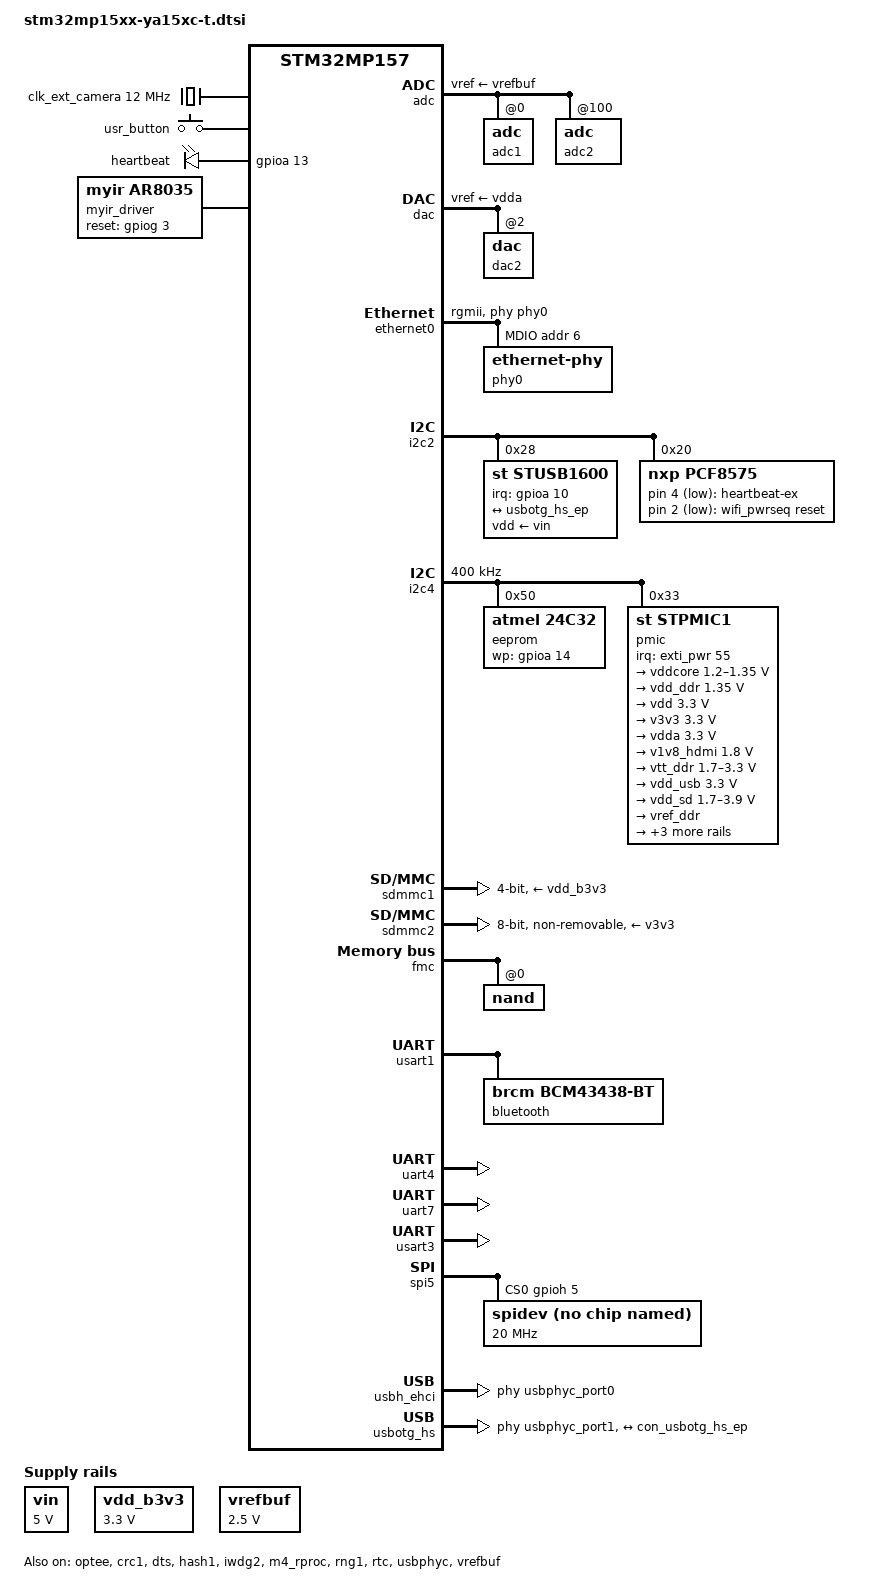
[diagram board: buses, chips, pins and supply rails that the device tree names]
// SPDX-License-Identifier: (GPL-2.0+ OR BSD-3-Clause)
/*
 * Copyright (C) STMicroelectronics 2019 - All Rights Reserved
 * Author: Alexandre Torgue <alexandre.torgue@st.com> for STMicroelectronics.
 * Author: licy licy.li@myirtech.com
 */

#include "stm32mp157-m4-srm.dtsi"
#include "stm32mp157-m4-srm-pinctrl.dtsi"
#include <dt-bindings/mfd/st,stpmic1.h>
#include <dt-bindings/input/input.h>


/ {

	reserved-memory {
		#address-cells = <1>;
		#size-cells = <1>;
		ranges;

		mcuram2: mcuram2@10000000 {
			compatible = "shared-dma-pool";
			reg = <0x10000000 0x40000>;
			no-map;
		};

		vdev0vring0: vdev0vring0@10040000 {
			compatible = "shared-dma-pool";
			reg = <0x10040000 0x1000>;
			no-map;
		};

		vdev0vring1: vdev0vring1@10041000 {
			compatible = "shared-dma-pool";
			reg = <0x10041000 0x1000>;
			no-map;
		};

		vdev0buffer: vdev0buffer@10042000 {
			compatible = "shared-dma-pool";
			reg = <0x10042000 0x4000>;
			no-map;
		};

		mcuram: mcuram@30000000 {
			compatible = "shared-dma-pool";
			reg = <0x30000000 0x40000>;
			no-map;
		};

		retram: retram@38000000 {
			compatible = "shared-dma-pool";
			reg = <0x38000000 0x10000>;
			no-map;
		};
	};

	/*camera clock*/
	
	 clocks {
                clk_ext_camera: clk-ext-camera {
                        #clock-cells = <0>;
                        compatible = "fixed-clock";
                        clock-frequency = <12000000>;
                };
        };

	
	/*button S2*/
	joystick {
	        compatible = "gpio-keys";
        	#size-cells = <0>;
        	button-0 {
               		 label = "usr_button";
               		 linux,code = <KEY_ENTER>;
                	interrupt-parent = <&gpioz>;
                	interrupts = <0 IRQ_TYPE_EDGE_RISING>;
        	};
	};

	/*Run LED*/
	led {
        	compatible = "gpio-leds";
        	blue {
                        label = "heartbeat";
                        gpios = <&gpioa 13 GPIO_ACTIVE_HIGH>;
                        linux,default-trigger = "heartbeat";
                        default-state = "off";
                };

                blue_ex {
                        label = "heartbeat-ex";
                        gpios = <&pcf8575 4 GPIO_ACTIVE_LOW>;
                        linux,default-trigger = "heartbeat";
                        default-state = "off";
                };


	};
	
	/*ether phy pwr */
	myir_driver {
                compatible = "myir,ar8035";
                reset-gpios = <&gpiog 3 GPIO_ACTIVE_HIGH>;
		status = "okay";
        };
	
	wifi_pwrseq: wifi-pwrseq {
                compatible = "mmc-pwrseq-simple";
                reset-gpios = <&pcf8575 2 GPIO_ACTIVE_LOW>;
        };
	
	bt_pwrseq {
                compatible = "myir,bt_pwr";
                bt-gpios = <&pcf8575 3 GPIO_ACTIVE_HIGH>;
		status = "disabled";
        };	
	cam_pwrseq {
		compatible = "myir,cam_pwr";
		cam-gpios = <&pcf8575 1 GPIO_ACTIVE_HIGH>;
		status = "disabled";
	};
	
	/*pwm for backlight*/
	/*
	panel_backlight: panel-backlight {
		compatible = "pwm-backlight";
		pwms = <&pwm2 0 5000000>;
		brightness-levels = <0 4 8 16 32 64 128 255>;
		default-brightness-level = <7>;
		status = "okay";
	};
	*/
	

	usb_phy_tuning: usb-phy-tuning {
		st,hs-dc-level = <2>;
		st,fs-rftime-tuning;
		st,hs-rftime-reduction;
		st,hs-current-trim = <15>;
		st,hs-impedance-trim = <1>;
		st,squelch-level = <3>;
		st,hs-rx-offset = <2>;
		st,no-lsfs-sc;
	};

	vin: vin {
                compatible = "regulator-fixed";
                regulator-name = "vin";
                regulator-min-microvolt = <5000000>;
                regulator-max-microvolt = <5000000>;
                regulator-always-on;
        };
	 vdd_b3v3: fixedregulator@2 {
                compatible = "regulator-fixed";
                regulator-name = "vdd_b3v3";
                regulator-min-microvolt = <3300000>;
                regulator-max-microvolt = <3300000>;
                startup-delay-us = <70000>;
                 enable-active-high;
        };


};

/* adc 
 *myir pin header
 *ANA0 (ADC1_INP0 or ADC2_INP0)
 *ANA1 (ADC1_INP1 or ADC2_INP1)
 *PC0(ADC1_INP10 or ADC2_INP10) 
 *PC3(ADC1_INP13 or ADC2_INN12) 
 *PF12(ADC1_INP6 or ADC1_INN2)
 */

&adc{
	pinctrl-names = "default", "sleep";
	pinctrl-0 = <&adc_pins_mx>;
	pinctrl-1 = <&adc_sleep_pins_mx>;
	vdd-supply = <&vdd>;
        vdda-supply = <&vdda>;
        vref-supply = <&vrefbuf>;
	status = "okay";

	adc1: adc@0 {
                st,min-sample-time-nsecs = <10000>;
                st,adc-channels = <0 1 6 10 13>;
                status = "okay";
        };

        adc2: adc@100 {
		st,min-sample-time-nsecs = <5000>;
                st,adc-channels = <0 1 10 12>;
                status = "okay";
        };
	

        adc_temp: temp {
                status = "okay";
        };
};

/*dac*/
&dac{
	pinctrl-names = "default", "sleep";
	pinctrl-0 = <&dac1_pins_mx>;
	pinctrl-1 = <&dac1_sleep_pins_mx>;
	status = "okay";
	vref-supply = <&vdda>;

	//PA4
        dac1: dac@1 {
                status = "disabled";
        };
	//PA5
        dac2: dac@2 {
                status = "okay";
        };
};

&optee {
	status = "okay";
};

&crc1 {
	status = "okay";
};

&dma1 {
	sram = <&dma_pool>;
};

&dma2 {
	sram = <&dma_pool>;
};

&dts {
	status = "okay";
};

/*g ethernet*/
&ethernet0 {
	status = "okay";
	pinctrl-0 = <&ethernet0_rgmii_pins_a>;
	pinctrl-1 = <&ethernet0_rgmii_pins_sleep_a>;
	pinctrl-names = "default", "sleep";
	phy-mode = "rgmii";
	max-speed = <1000>;
	phy-handle = <&phy0>;

	mdio0 {
		#address-cells = <1>;
		#size-cells = <0>;
		compatible = "snps,dwmac-mdio";
		phy0: ethernet-phy@6 {
            		reg = <6>; 
		};
	};
};

&hash1 {
	status = "okay";
};

/*no hdmi cec*/
/*
&cec {
	pinctrl-names = "default", "sleep";
	pinctrl-0 = <&cec_pins_a>;
	pinctrl-1 = <&cec_pins_sleep_a>;
	status = "disabled";
};
*/

&i2c2 {
	pinctrl-names = "default", "sleep";
        pinctrl-0 = <&i2c2_pins_mx &i2c2_pins_z_mx>;
        pinctrl-1 = <&i2c2_sleep_pins_mx &i2c2_sleep_pins_z_mx>;
        i2c-scl-rising-time-ns = <100>;
        i2c-scl-falling-time-ns = <7>;
        status = "okay";
        /delete-property/dmas;
        /delete-property/dma-names;
	//clock-frequency = <100000>;
	
        touchscreen@38 {
              compatible ="edt,edt-ft5x06";
              reg = <0x38>;

              interrupts = <12 IRQ_TYPE_EDGE_FALLING>;
              interrupt-parent = <&gpioe>;
              interrupt-controller;
              touchscreen-size-x = <800>;
              touchscreen-size-y = <480>;

              reset-gpios = <&gpioe 11 GPIO_ACTIVE_LOW>;
              status = "disabled";
      };

	 
        tsc2007@48 {
                compatible = "ti,tsc2007";
                reg = <0x48>;
                interrupt-parent = <&gpioa>;
                interrupts = <15 IRQ_TYPE_EDGE_FALLING>;
                gpios = <&gpioa 15 0>;
                ti,x-plate-ohms = <180>;
                status = "disabled";
        };
        

	/*rtc1*/
	rtc1: rtc1@32 {
		compatible = "epson,rx8025";
		reg = <0x32>;
		status = "disabled";
	};


        stusb1600@28 {
		compatible = "st,stusb1600";
		reg = <0x28>;
		interrupts = <10 IRQ_TYPE_EDGE_FALLING>;
		interrupt-parent = <&gpioa>;
		pinctrl-names = "default";
		pinctrl-0 = <&stusb1600_pins_a>;
		status = "okay";
		vdd-supply = <&vin>;

		connector {
			compatible = "usb-c-connector";
			label = "USB-C";
			power-role = "dual";
			power-opmode = "default";

			port {
				con_usbotg_hs_ep: endpoint {
					remote-endpoint = <&usbotg_hs_ep>;
				};
			};
		};
	};


	camera@30 {
                compatible = "ovti,ov2659";
                reg = <0x30>;
                clocks = <&clk_ext_camera>;
                clock-names = "xvclk";
                reset-gpios = <&pcf8575 0 (GPIO_ACTIVE_LOW | GPIO_PUSH_PULL)>;
                status = "disabled";
                
                port {
                        camera0: endpoint {
                                remote-endpoint = <&dcmi_0>;
                                link-frequencies = /bits/ 64 <70000000>;
                        };
                };
        };


	pcf8575: gpio@20 {
                compatible = "nxp,pcf8575";
                reg = <0x20>;
                gpio-controller;
                #gpio-cells = <2>;
                lines-initial-states = <0xffff>;
                status = "okay";
        };

};

#if 1
&i2c4 {
	pinctrl-names = "default", "sleep";
	pinctrl-0 = <&i2c4_pins_a>;
	pinctrl-1 = <&i2c4_pins_sleep_a>;
	i2c-scl-rising-time-ns = <185>;
	i2c-scl-falling-time-ns = <20>;
	clock-frequency = <400000>;
	status = "okay";
	/delete-property/dmas;
	/delete-property/dma-names;
	
	/*eeprom*/
	eeprom@50 {
          	compatible = "atmel,24c32";
          	reg = <0x50>;
          	pagesize = <32>;
          	wp-gpios = <&gpioa 14 0>;
          	num-addresses = <8>;
      };

	pmic: stpmic@33 {
		compatible = "st,stpmic1";
		reg = <0x33>;
		interrupts-extended = <&exti_pwr 55 IRQ_TYPE_EDGE_FALLING>;
		interrupt-controller;
		#interrupt-cells = <2>;
		status = "okay";

		regulators {
			compatible = "st,stpmic1-regulators";
			buck1-supply = <&vin>;
			buck2-supply = <&vin>;
			buck3-supply = <&vin>;
			buck4-supply = <&vin>;
			ldo1-supply = <&v3v3>;
			ldo2-supply = <&vin>;
			ldo3-supply = <&vdd_ddr>;
			ldo4-supply = <&vin>;
			ldo5-supply = <&vin>;
			ldo6-supply = <&v3v3>;
			vref_ddr-supply = <&vin>;
			boost-supply = <&vin>;
			pwr_sw1-supply = <&bst_out>;
			pwr_sw2-supply = <&bst_out>;
		

			vddcore: buck1 {
				regulator-name = "vddcore";
				regulator-min-microvolt = <1200000>;
				regulator-max-microvolt = <1350000>;
				regulator-always-on;
				regulator-initial-mode = <0>;
				regulator-over-current-protection;
			};

			vdd_ddr: buck2 {
				regulator-name = "vdd_ddr";
				regulator-min-microvolt = <1350000>;
				regulator-max-microvolt = <1350000>;
				regulator-always-on;
				regulator-initial-mode = <0>;
				regulator-over-current-protection;
			};

			vdd: buck3 {
				regulator-name = "vdd";
				regulator-min-microvolt = <3300000>;
				regulator-max-microvolt = <3300000>;
				regulator-always-on;
				st,mask-reset;
				regulator-initial-mode = <0>;
				regulator-over-current-protection;
			};

			v3v3: buck4 {
				regulator-name = "v3v3";
				regulator-min-microvolt = <3300000>;
				regulator-max-microvolt = <3300000>;
				regulator-always-on;
				regulator-over-current-protection;
				regulator-initial-mode = <0>;
			};
			
			vdda: ldo1 {
				regulator-name = "vdda";
				regulator-min-microvolt = <3300000>;
				regulator-max-microvolt = <3300000>;
				regulator-always-on;
				interrupts = <IT_CURLIM_LDO1 0>;

			};

			v1v8_hdmi: ldo2 {
				regulator-name = "v1v8_hdmi";
				regulator-min-microvolt = <1800000>;
				regulator-max-microvolt = <1800000>;
				regulator-always-on;
				interrupts = <IT_CURLIM_LDO2 0>;

			};

			vtt_ddr: ldo3 {
				regulator-name = "vtt_ddr";
				regulator-min-microvolt = <1700000>;
				regulator-max-microvolt = <3300000>;
				regulator-always-on;
				regulator-over-current-protection;
			};

			vdd_usb: ldo4 {
				regulator-name = "vdd_usb";
				regulator-min-microvolt = <3300000>;
				regulator-max-microvolt = <3300000>;
				interrupts = <IT_CURLIM_LDO4 0>;
				regulator-always-on;
			};

			vdd_sd: ldo5 {
				regulator-name = "vdd_sd";
				regulator-min-microvolt = <1700000>;
				regulator-max-microvolt = <3900000>;
				interrupts = <IT_CURLIM_LDO5 0>;
				regulator-boot-on;
			};

			vref_ddr: vref_ddr {
				regulator-name = "vref_ddr";
				regulator-always-on;
				regulator-over-current-protection;
			};

			 bst_out: boost {
				regulator-name = "bst_out";
				interrupts = <IT_OCP_BOOST 0>;
			 };

			vbus_otg: pwr_sw1 {
				regulator-name = "vbus_otg";
				interrupts = <IT_OCP_OTG 0>;
			 };

			 vbus_sw: pwr_sw2 {
				regulator-name = "vbus_sw";
				interrupts = <IT_OCP_SWOUT 0>;
				regulator-active-discharge = <1>;
			 };
		};

		onkey {
			compatible = "st,stpmic1-onkey";
			interrupts = <IT_PONKEY_F 0>, <IT_PONKEY_R 0>;
			interrupt-names = "onkey-falling", "onkey-rising";
			power-off-time-sec = <10>;
			status = "okay";
		};

		watchdog {
			compatible = "st,stpmic1-wdt";
			status = "disabled";
		};
    };
};
#endif

/*DCMI for camera*/
&dcmi {
        status = "disabled";
        pinctrl-names = "default", "sleep";
        pinctrl-0 = <&dcmi_pins_mx>;
        pinctrl-1 = <&dcmi_sleep_pins_mx>;

        port {
                dcmi_0: endpoint {
                        remote-endpoint = <&camera0>;
			bus-width = <8>;
			hsync-active = <0>;
			vsync-active = <1>;//ok
			pclk-sample = <1>;
			//pclk-max-frequency = <77000000>;
                };
        };
};

&ipcc {
	status = "okay";
};

/*watch dog*/
&iwdg2 {
	timeout-sec = <32>;
	status = "okay";
};

&m4_rproc {
	memory-region = <&retram>, <&mcuram>, <&mcuram2>, <&vdev0vring0>,
			<&vdev0vring1>, <&vdev0buffer>;
	mboxes = <&ipcc 0>, <&ipcc 1>, <&ipcc 2>;
	mbox-names = "vq0", "vq1", "shutdown";
	interrupt-parent = <&exti>;
	interrupts = <68 1>;
	wakeup-source;
	status = "okay";
};

&pwr_regulators {
	vdd-supply = <&vdd>;
	//vdd_3v3_usbfs-supply = <&vdd_usb>;
};

&rng1 {
	status = "okay";
};

/*rtc0*/
&rtc {
	status = "okay";
};

/* Wifi */
&sdmmc3 {
     arm,primecell-periphid = <0x10153180>;
     pinctrl-names = "default", "opendrain", "sleep";
     pinctrl-0 = <&sdmmc3_b4_pins_a>;
     pinctrl-1 = <&sdmmc3_b4_od_pins_a>;
     pinctrl-2 = <&sdmmc3_b4_sleep_pins_a>;
     non-removable;
     st,neg-edge;
     bus-width = <4>;
     vmmc-supply = <&v3v3>;
     mmc-pwrseq = <&wifi_pwrseq>;
     #address-cells = <1>;
     #size-cells = <0>;
     keep-power-in-suspend;
     status = "disabled";
 
     brcmf: bcrmf@1 {
         reg = <1>;
         compatible = "brcm,bcm4329-fmac";
        // interrupt-parent = <&pcf8575>;
        // interrupts = <>;
        // interrupt-names = "host-wake";

     };
};

/*SD card*/
&sdmmc1 {
     pinctrl-names = "default", "opendrain", "sleep";
     pinctrl-0 = <&sdmmc1_b4_pins_a>;
     pinctrl-1 = <&sdmmc1_b4_od_pins_a>;
     pinctrl-2 = <&sdmmc1_b4_sleep_pins_a>;
     broken-cd;
     st,neg-edge;
     bus-width = <4>;
     vmmc-supply = <&vdd_b3v3>;
     status = "okay";
};

/*emmc*/
&sdmmc2 {
	pinctrl-names = "default", "opendrain", "sleep";
	pinctrl-0 = <&sdmmc2_b4_pins_a &sdmmc2_d47_pins_a>;
	pinctrl-1 = <&sdmmc2_b4_od_pins_a &sdmmc2_d47_pins_a>;
	pinctrl-2 = <&sdmmc2_b4_sleep_pins_a &sdmmc2_d47_sleep_pins_a>;
	non-removable;
	no-sd;
	no-sdio;
	st,neg-edge;
	bus-width = <8>;
	vmmc-supply = <&v3v3>;
	vqmmc-supply = <&vdd>;
	mmc-ddr-3_3v;
	status = "okay";
};

/*nand*/
&fmc {
    pinctrl-names = "default", "sleep";
    pinctrl-0 = <&fmc_pins_a>;
    pinctrl-1 = <&fmc_sleep_pins_a>;
    status = "okay";
    #address-cells = <1>;
    #size-cells = <0>;
                             
    nand: nand@0 {
          reg = <0>;
          nand-on-flash-bbt;
          #address-cells = <1>;
          #size-cells = <1>;
          nand-ecc-strength = <4>;
          nand-ecc-step-size = <512>;
    };                                                                                                                                                                                                 
};

/* Bluetooth */
&usart1{
        pinctrl-names = "default", "sleep";
        pinctrl-0 = <&usart1_pins_mx &usart1_pins_z_mx>;
        pinctrl-1 = <&usart1_sleep_pins_mx &usart1_sleep_pins_z_mx>;
        uart-has-rtscts;
        status = "okay";

        bluetooth {
		//shutdown-gpios = <&pcf8575 3 GPIO_ACTIVE_HIGH>;
		//device-wakeup-gpios = <&pcf8575 15 GPIO_ACTIVE_HIGH>;
		//host-wakeup-gpios = <>;
                compatible = "brcm,bcm43438-bt";
                max-speed = <3000000>;
        };
};

/*debug*/
&uart4 {
        pinctrl-names = "default", "sleep";
        pinctrl-0 = <&uart4_pins_mx>;
        pinctrl-1 = <&uart4_sleep_pins_mx>;
        status = "okay";
};

/*RS232*/
&uart7 {
        pinctrl-names = "default", "sleep";
        pinctrl-0 = <&uart7_pins_mx>;
        pinctrl-1 = <&uart7_sleep_pins_mx>;
        status = "okay";

};

/*rs485*/
&usart3{
        pinctrl-names = "default", "sleep";
        pinctrl-0 = <&usart3_pins_mx>;
        pinctrl-1 = <&usart3_sleep_pins_mx>;
        status = "okay";
};

&spi5 {
	pinctrl-names = "default", "sleep";
	pinctrl-0 = <&spi5_pins_mx>;
	pinctrl-1 = <&spi5_sleep_pins_mx>;
	cs-gpios = <&gpioh 5 0>;
	status = "okay";

	spidev@0 {     
       		 compatible = "spidev";
        	spi-max-frequency = <20000000>;
        	reg = <0>;
    };
};

&sram {
	dma_pool: dma_pool@0 {
		reg = <0x50000 0x10000>;
		pool;
	};
};


/*PWM for bg*/
/*
&timers2{
	status = "okay";

	pwm2:pwm{
		pinctrl-names = "default", "sleep";
		pinctrl-0 = <&tim2_pwm_pins_mx>;
		pinctrl-1 = <&tim2_pwm_sleep_pins_mx>;
		status = "okay";
	};
};
*/


/*usb host ehci*/
&usbh_ehci {
	phys = <&usbphyc_port0>;
	phy-names = "usb";
	status = "okay";
};

/*usb host ohci*/
/*
&usbh_ohci {
   phys = <&usbphyc_port0>; 
   phy-names = "usb";
   status = "okay";
};
*/

/*otg*/
&usbotg_hs {
	phys = <&usbphyc_port1 0>;
	phy-names = "usb2-phy";
	usb-role-switch;
	status = "okay";

	port {
		usbotg_hs_ep: endpoint {
			remote-endpoint = <&con_usbotg_hs_ep>;
		};
	};
};

&usbphyc {
	status = "okay";
	
};

&usbphyc_port0 {
	phy-supply = <&vdd_b3v3>;
	st,phy-tuning = <&usb_phy_tuning>;
};

&usbphyc_port1 {
	phy-supply = <&vdd_b3v3>;
	st,phy-tuning = <&usb_phy_tuning>;
};

&vrefbuf {
	regulator-min-microvolt = <2500000>;
	regulator-max-microvolt = <2500000>;
	vdda-supply = <&vdda>;
	status = "okay";
};
